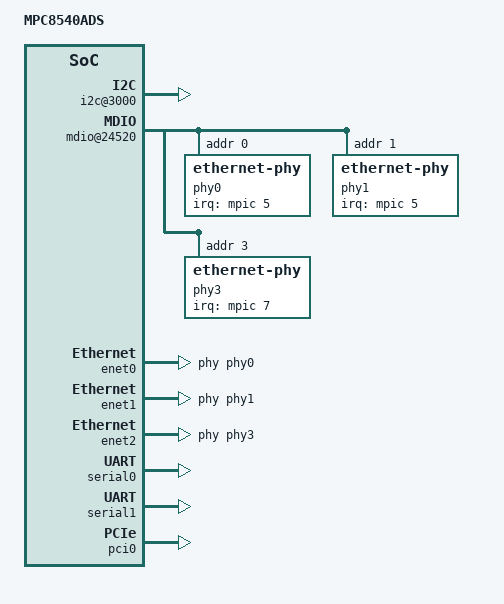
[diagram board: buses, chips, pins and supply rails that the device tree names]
/*
 * MPC8540 ADS Device Tree Source
 *
 * Copyright 2006 Freescale Semiconductor Inc.
 *
 * This program is free software; you can redistribute  it and/or modify it
 * under  the terms of  the GNU General  Public License as published by the
 * Free Software Foundation;  either version 2 of the  License, or (at your
 * option) any later version.
 */


/ {
	model = "MPC8540ADS";
	compatible = "MPC8540ADS", "MPC85xxADS";
	#address-cells = <1>;
	#size-cells = <1>;

	aliases {
		ethernet0 = &enet0;
		ethernet1 = &enet1;
		ethernet2 = &enet2;
		serial0 = &serial0;
		serial1 = &serial1;
		pci0 = &pci0;
	};

	cpus {
		#address-cells = <1>;
		#size-cells = <0>;

		PowerPC,8540@0 {
			device_type = "cpu";
			reg = <0>;
			d-cache-line-size = <20>;	// 32 bytes
			i-cache-line-size = <20>;	// 32 bytes
			d-cache-size = <8000>;		// L1, 32K
			i-cache-size = <8000>;		// L1, 32K
			timebase-frequency = <0>;	//  33 MHz, from uboot
			bus-frequency = <0>;	// 166 MHz
			clock-frequency = <0>;	// 825 MHz, from uboot
		};
	};

	memory {
		device_type = "memory";
		reg = <00000000 08000000>;	// 128M at 0x0
	};

	soc8540@e0000000 {
		#address-cells = <1>;
		#size-cells = <1>;
		device_type = "soc";
		ranges = <0 e0000000 00100000>;
		reg = <e0000000 00100000>;	// CCSRBAR 1M
		bus-frequency = <0>;

		memory-controller@2000 {
			compatible = "fsl,8540-memory-controller";
			reg = <2000 1000>;
			interrupt-parent = <&mpic>;
			interrupts = <12 2>;
		};

		l2-cache-controller@20000 {
			compatible = "fsl,8540-l2-cache-controller";
			reg = <20000 1000>;
			cache-line-size = <20>;	// 32 bytes
			cache-size = <40000>;	// L2, 256K
			interrupt-parent = <&mpic>;
			interrupts = <10 2>;
		};

		i2c@3000 {
			#address-cells = <1>;
			#size-cells = <0>;
			cell-index = <0>;
			compatible = "fsl-i2c";
			reg = <3000 100>;
			interrupts = <2b 2>;
			interrupt-parent = <&mpic>;
			dfsrr;
		};

		mdio@24520 {
			#address-cells = <1>;
			#size-cells = <0>;
			compatible = "fsl,gianfar-mdio";
			reg = <24520 20>;

			phy0: ethernet-phy@0 {
				interrupt-parent = <&mpic>;
				interrupts = <5 1>;
				reg = <0>;
				device_type = "ethernet-phy";
			};
			phy1: ethernet-phy@1 {
				interrupt-parent = <&mpic>;
				interrupts = <5 1>;
				reg = <1>;
				device_type = "ethernet-phy";
			};
			phy3: ethernet-phy@3 {
				interrupt-parent = <&mpic>;
				interrupts = <7 1>;
				reg = <3>;
				device_type = "ethernet-phy";
			};
		};

		enet0: ethernet@24000 {
			cell-index = <0>;
			device_type = "network";
			model = "TSEC";
			compatible = "gianfar";
			reg = <24000 1000>;
			local-mac-address = [ 00 00 00 00 00 00 ];
			interrupts = <1d 2 1e 2 22 2>;
			interrupt-parent = <&mpic>;
			phy-handle = <&phy0>;
		};

		enet1: ethernet@25000 {
			cell-index = <1>;
			device_type = "network";
			model = "TSEC";
			compatible = "gianfar";
			reg = <25000 1000>;
			local-mac-address = [ 00 00 00 00 00 00 ];
			interrupts = <23 2 24 2 28 2>;
			interrupt-parent = <&mpic>;
			phy-handle = <&phy1>;
		};

		enet2: ethernet@26000 {
			cell-index = <2>;
			device_type = "network";
			model = "FEC";
			compatible = "gianfar";
			reg = <26000 1000>;
			local-mac-address = [ 00 00 00 00 00 00 ];
			interrupts = <29 2>;
			interrupt-parent = <&mpic>;
			phy-handle = <&phy3>;
		};

		serial0: serial@4500 {
			cell-index = <0>;
			device_type = "serial";
			compatible = "ns16550";
			reg = <4500 100>; 	// reg base, size
			clock-frequency = <0>; 	// should we fill in in uboot?
			interrupts = <2a 2>;
			interrupt-parent = <&mpic>;
		};

		serial1: serial@4600 {
			cell-index = <1>;
			device_type = "serial";
			compatible = "ns16550";
			reg = <4600 100>;	// reg base, size
			clock-frequency = <0>; 	// should we fill in in uboot?
			interrupts = <2a 2>;
			interrupt-parent = <&mpic>;
		};
		mpic: pic@40000 {
			clock-frequency = <0>;
			interrupt-controller;
			#address-cells = <0>;
			#interrupt-cells = <2>;
			reg = <40000 40000>;
			compatible = "chrp,open-pic";
			device_type = "open-pic";
			big-endian;
		};
	};

	pci0: pci@e0008000 {
		cell-index = <0>;
		interrupt-map-mask = <f800 0 0 7>;
		interrupt-map = <

			/* IDSEL 0x02 */
			1000 0 0 1 &mpic 1 1
			1000 0 0 2 &mpic 2 1
			1000 0 0 3 &mpic 3 1
			1000 0 0 4 &mpic 4 1

			/* IDSEL 0x03 */
			1800 0 0 1 &mpic 4 1
			1800 0 0 2 &mpic 1 1
			1800 0 0 3 &mpic 2 1
			1800 0 0 4 &mpic 3 1

			/* IDSEL 0x04 */
			2000 0 0 1 &mpic 3 1
			2000 0 0 2 &mpic 4 1
			2000 0 0 3 &mpic 1 1
			2000 0 0 4 &mpic 2 1

			/* IDSEL 0x05 */
			2800 0 0 1 &mpic 2 1
			2800 0 0 2 &mpic 3 1
			2800 0 0 3 &mpic 4 1
			2800 0 0 4 &mpic 1 1

			/* IDSEL 0x0c */
			6000 0 0 1 &mpic 1 1
			6000 0 0 2 &mpic 2 1
			6000 0 0 3 &mpic 3 1
			6000 0 0 4 &mpic 4 1

			/* IDSEL 0x0d */
			6800 0 0 1 &mpic 4 1
			6800 0 0 2 &mpic 1 1
			6800 0 0 3 &mpic 2 1
			6800 0 0 4 &mpic 3 1

			/* IDSEL 0x0e */
			7000 0 0 1 &mpic 3 1
			7000 0 0 2 &mpic 4 1
			7000 0 0 3 &mpic 1 1
			7000 0 0 4 &mpic 2 1

			/* IDSEL 0x0f */
			7800 0 0 1 &mpic 2 1
			7800 0 0 2 &mpic 3 1
			7800 0 0 3 &mpic 4 1
			7800 0 0 4 &mpic 1 1

			/* IDSEL 0x12 */
			9000 0 0 1 &mpic 1 1
			9000 0 0 2 &mpic 2 1
			9000 0 0 3 &mpic 3 1
			9000 0 0 4 &mpic 4 1

			/* IDSEL 0x13 */
			9800 0 0 1 &mpic 4 1
			9800 0 0 2 &mpic 1 1
			9800 0 0 3 &mpic 2 1
			9800 0 0 4 &mpic 3 1

			/* IDSEL 0x14 */
			a000 0 0 1 &mpic 3 1
			a000 0 0 2 &mpic 4 1
			a000 0 0 3 &mpic 1 1
			a000 0 0 4 &mpic 2 1

			/* IDSEL 0x15 */
			a800 0 0 1 &mpic 2 1
			a800 0 0 2 &mpic 3 1
			a800 0 0 3 &mpic 4 1
			a800 0 0 4 &mpic 1 1>;
		interrupt-parent = <&mpic>;
		interrupts = <18 2>;
		bus-range = <0 0>;
		ranges = <02000000 0 80000000 80000000 0 20000000
			  01000000 0 00000000 e2000000 0 00100000>;
		clock-frequency = <3f940aa>;
		#interrupt-cells = <1>;
		#size-cells = <2>;
		#address-cells = <3>;
		reg = <e0008000 1000>;
		compatible = "fsl,mpc8540-pcix", "fsl,mpc8540-pci";
		device_type = "pci";
	};
};
